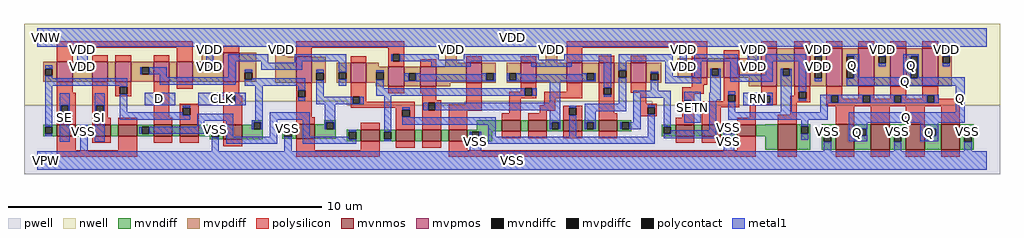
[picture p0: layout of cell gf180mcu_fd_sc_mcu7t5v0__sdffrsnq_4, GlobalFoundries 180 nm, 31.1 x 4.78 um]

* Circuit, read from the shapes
.subckt gf180mcu_fd_sc_mcu7t5v0__sdffrsnq_4 D RN SE SETN SI CLK Q VDD VNW VPW VSS
XM1 VSS SE n1 VPW nfet_06v0 w=0.36u l=0.6u
XM2 n2 SI VSS VPW nfet_06v0 w=0.36u l=0.6u
XM3 n3 SE n2 VPW nfet_06v0 w=0.36u l=0.6u
XM4 n4 D n3 VPW nfet_06v0 w=0.36u l=0.6u
XM5 VSS n1 n4 VPW nfet_06v0 w=0.36u l=0.6u
XM6 n5 CLK VSS VPW nfet_06v0 w=0.465u l=0.6u
XM7 n6 n5 VSS VPW nfet_06v0 w=0.465u l=0.6u
XM8 n7 n5 n3 VPW nfet_06v0 w=0.36u l=0.6u
XM9 n8 n6 n7 VPW nfet_06v0 w=0.36u l=0.6u
XM10 n9 n10 n8 VPW nfet_06v0 w=0.36u l=0.6u
XM11 VSS RN n9 VPW nfet_06v0 w=0.36u l=0.6u
XM12 n11 n7 VSS VPW nfet_06v0 w=0.36u l=0.6u
XM13 n10 SETN n11 VPW nfet_06v0 w=0.36u l=0.6u
XM14 n12 n6 n10 VPW nfet_06v0 w=0.36u l=0.6u
XM15 n13 n5 n12 VPW nfet_06v0 w=0.36u l=0.6u
XM16 n14 SETN n13 VPW nfet_06v0 w=0.36u l=0.6u
XM17 VSS n15 n14 VPW nfet_06v0 w=0.36u l=0.6u
XM18 n16 RN VSS VPW nfet_06v0 w=0.36u l=0.6u
XM19 n15 n12 n16 VPW nfet_06v0 w=0.82u l=0.6u
XM20 Q n15 VSS VPW nfet_06v0 w=0.82u l=0.6u m=4
XM21 VDD SE n1 VNW pfet_06v0 w=0.63u l=0.5u
XM22 n17 SI VDD VNW pfet_06v0 w=0.63u l=0.5u
XM23 n18 n1 n17 VNW pfet_06v0 w=0.63u l=0.5u
XM24 n19 D n18 VNW pfet_06v0 w=0.63u l=0.5u
XM25 VDD SE n19 VNW pfet_06v0 w=0.63u l=0.5u
XM26 n5 CLK VDD VNW pfet_06v0 w=0.925u l=0.5u
XM27 n6 n5 VDD VNW pfet_06v0 w=0.815u l=0.5u
XM28 n7 n6 n18 VNW pfet_06v0 w=0.625u l=0.5u
XM29 n20 n5 n7 VNW pfet_06v0 w=0.625u l=0.5u
XM30 VDD n10 n20 VNW pfet_06v0 w=0.625u l=0.5u
XM31 n20 RN VDD VNW pfet_06v0 w=0.625u l=0.5u
XM32 VDD n7 n10 VNW pfet_06v0 w=0.625u l=0.5u
XM33 n10 SETN VDD VNW pfet_06v0 w=0.63u l=0.5u
XM34 n12 n5 n10 VNW pfet_06v0 w=0.63u l=0.5u
XM35 n13 n6 n12 VNW pfet_06v0 w=0.63u l=0.5u
XM36 n13 SETN VDD VNW pfet_06v0 w=0.63u l=0.5u
XM37 VDD n15 n13 VNW pfet_06v0 w=0.63u l=0.5u
XM38 n15 RN VDD VNW pfet_06v0 w=1.22u l=0.5u
XM39 VDD n12 n15 VNW pfet_06v0 w=1.22u l=0.5u
XM40 Q n15 VDD VNW pfet_06v0 w=1.22u l=0.5u m=4
.ends

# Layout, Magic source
magic
tech gf180mcuD
magscale 1 10
<< nwell >>
rect -86 377 6134 870
rect -86 352 1291 377
rect 1974 352 2726 377
rect 3918 352 6134 377
<< pwell >>
rect 1291 352 1974 377
rect 2726 352 3918 377
rect -86 -86 6134 352
<< mvnmos >>
rect 124 156 244 228
rect 348 156 468 228
rect 516 156 636 228
rect 740 156 860 228
rect 908 156 1028 228
rect 1185 135 1305 228
rect 1648 139 1768 232
rect 2060 124 2180 196
rect 2284 124 2404 196
rect 2452 124 2572 196
rect 2620 124 2740 196
rect 2959 185 3079 257
rect 3127 185 3247 257
rect 3351 185 3471 257
rect 3576 185 3696 257
rect 4066 156 4186 228
rect 4234 156 4354 228
rect 4458 156 4578 228
rect 4718 68 4838 232
rect 5086 68 5206 232
rect 5310 68 5430 232
rect 5534 68 5654 232
rect 5758 68 5878 232
<< mvpmos >>
rect 124 502 224 628
rect 348 502 448 628
rect 496 502 596 628
rect 740 502 840 628
rect 888 502 988 628
rect 1185 502 1285 687
rect 1648 497 1748 660
rect 1996 497 2096 622
rect 2236 474 2336 599
rect 2440 474 2540 599
rect 2732 497 2832 622
rect 3080 497 3180 622
rect 3372 497 3472 623
rect 3576 497 3676 623
rect 3780 497 3880 623
rect 4168 527 4268 653
rect 4372 527 4472 653
rect 4612 472 4712 716
rect 4824 472 4924 716
rect 5028 472 5128 716
rect 5232 472 5332 716
rect 5436 472 5536 716
rect 5640 472 5740 716
<< mvndiff >>
rect 1365 244 1437 257
rect 1365 228 1378 244
rect 36 215 124 228
rect 36 169 49 215
rect 95 169 124 215
rect 36 156 124 169
rect 244 215 348 228
rect 244 169 273 215
rect 319 169 348 215
rect 244 156 348 169
rect 468 156 516 228
rect 636 215 740 228
rect 636 169 665 215
rect 711 169 740 215
rect 636 156 740 169
rect 860 156 908 228
rect 1028 194 1185 228
rect 1028 156 1110 194
rect 1097 148 1110 156
rect 1156 148 1185 194
rect 1097 135 1185 148
rect 1305 198 1378 228
rect 1424 198 1437 244
rect 1828 244 1900 257
rect 1828 232 1841 244
rect 1305 135 1437 198
rect 1560 198 1648 232
rect 1560 152 1573 198
rect 1619 152 1648 198
rect 1560 139 1648 152
rect 1768 198 1841 232
rect 1887 198 1900 244
rect 1768 139 1900 198
rect 2800 196 2959 257
rect 1972 183 2060 196
rect 1972 137 1985 183
rect 2031 137 2060 183
rect 1972 124 2060 137
rect 2180 183 2284 196
rect 2180 137 2209 183
rect 2255 137 2284 183
rect 2180 124 2284 137
rect 2404 124 2452 196
rect 2572 124 2620 196
rect 2740 185 2959 196
rect 3079 185 3127 257
rect 3247 244 3351 257
rect 3247 198 3276 244
rect 3322 198 3351 244
rect 3247 185 3351 198
rect 3471 244 3576 257
rect 3471 198 3500 244
rect 3546 198 3576 244
rect 3471 185 3576 198
rect 3696 244 3784 257
rect 3696 198 3725 244
rect 3771 198 3784 244
rect 4638 228 4718 232
rect 3696 185 3784 198
rect 3978 215 4066 228
rect 2740 183 2899 185
rect 2740 137 2769 183
rect 2815 137 2899 183
rect 3978 169 3991 215
rect 4037 169 4066 215
rect 3978 156 4066 169
rect 4186 156 4234 228
rect 4354 215 4458 228
rect 4354 169 4383 215
rect 4429 169 4458 215
rect 4354 156 4458 169
rect 4578 156 4718 228
rect 2740 124 2899 137
rect 4638 68 4718 156
rect 4838 218 4926 232
rect 4838 172 4867 218
rect 4913 172 4926 218
rect 4838 68 4926 172
rect 4998 166 5086 232
rect 4998 120 5011 166
rect 5057 120 5086 166
rect 4998 68 5086 120
rect 5206 203 5310 232
rect 5206 157 5235 203
rect 5281 157 5310 203
rect 5206 68 5310 157
rect 5430 166 5534 232
rect 5430 120 5459 166
rect 5505 120 5534 166
rect 5430 68 5534 120
rect 5654 203 5758 232
rect 5654 157 5683 203
rect 5729 157 5758 203
rect 5654 68 5758 157
rect 5878 166 5966 232
rect 5878 120 5907 166
rect 5953 120 5966 166
rect 5878 68 5966 120
<< mvpdiff >>
rect 1516 716 1588 729
rect 1048 634 1185 687
rect 1048 628 1075 634
rect 36 585 124 628
rect 36 539 49 585
rect 95 539 124 585
rect 36 502 124 539
rect 224 615 348 628
rect 224 569 263 615
rect 309 569 348 615
rect 224 502 348 569
rect 448 502 496 628
rect 596 595 740 628
rect 596 549 665 595
rect 711 549 740 595
rect 596 502 740 549
rect 840 502 888 628
rect 988 588 1075 628
rect 1121 588 1185 634
rect 988 502 1185 588
rect 1285 561 1393 687
rect 1285 515 1322 561
rect 1368 515 1393 561
rect 1285 502 1393 515
rect 1516 670 1529 716
rect 1575 670 1588 716
rect 1516 660 1588 670
rect 1516 497 1648 660
rect 1748 559 1836 660
rect 2600 735 2672 748
rect 2600 689 2613 735
rect 2659 689 2672 735
rect 1748 513 1777 559
rect 1823 513 1836 559
rect 1748 497 1836 513
rect 1908 563 1996 622
rect 1908 517 1921 563
rect 1967 517 1996 563
rect 1908 497 1996 517
rect 2096 599 2176 622
rect 2600 622 2672 689
rect 3240 735 3312 748
rect 3240 689 3253 735
rect 3299 689 3312 735
rect 3240 623 3312 689
rect 4532 653 4612 716
rect 4080 640 4168 653
rect 3240 622 3372 623
rect 2600 599 2732 622
rect 2096 562 2236 599
rect 2096 516 2160 562
rect 2206 516 2236 562
rect 2096 497 2236 516
rect 2156 474 2236 497
rect 2336 555 2440 599
rect 2336 509 2365 555
rect 2411 509 2440 555
rect 2336 474 2440 509
rect 2540 497 2732 599
rect 2832 556 2920 622
rect 2832 510 2861 556
rect 2907 510 2920 556
rect 2832 497 2920 510
rect 2992 556 3080 622
rect 2992 510 3005 556
rect 3051 510 3080 556
rect 2992 497 3080 510
rect 3180 497 3372 622
rect 3472 556 3576 623
rect 3472 510 3501 556
rect 3547 510 3576 556
rect 3472 497 3576 510
rect 3676 575 3780 623
rect 3676 529 3705 575
rect 3751 529 3780 575
rect 3676 497 3780 529
rect 3880 556 3976 623
rect 3880 510 3909 556
rect 3955 510 3976 556
rect 4080 594 4093 640
rect 4139 594 4168 640
rect 4080 527 4168 594
rect 4268 586 4372 653
rect 4268 540 4297 586
rect 4343 540 4372 586
rect 4268 527 4372 540
rect 4472 640 4612 653
rect 4472 594 4537 640
rect 4583 594 4612 640
rect 4472 527 4612 594
rect 3880 497 3976 510
rect 2540 474 2630 497
rect 4532 472 4612 527
rect 4712 586 4824 716
rect 4712 540 4749 586
rect 4795 540 4824 586
rect 4712 472 4824 540
rect 4924 665 5028 716
rect 4924 525 4953 665
rect 4999 525 5028 665
rect 4924 472 5028 525
rect 5128 665 5232 716
rect 5128 525 5157 665
rect 5203 525 5232 665
rect 5128 472 5232 525
rect 5332 665 5436 716
rect 5332 619 5361 665
rect 5407 619 5436 665
rect 5332 472 5436 619
rect 5536 665 5640 716
rect 5536 525 5565 665
rect 5611 525 5640 665
rect 5536 472 5640 525
rect 5740 665 5828 716
rect 5740 619 5769 665
rect 5815 619 5828 665
rect 5740 472 5828 619
<< mvndiffc >>
rect 49 169 95 215
rect 273 169 319 215
rect 665 169 711 215
rect 1110 148 1156 194
rect 1378 198 1424 244
rect 1573 152 1619 198
rect 1841 198 1887 244
rect 1985 137 2031 183
rect 2209 137 2255 183
rect 3276 198 3322 244
rect 3500 198 3546 244
rect 3725 198 3771 244
rect 2769 137 2815 183
rect 3991 169 4037 215
rect 4383 169 4429 215
rect 4867 172 4913 218
rect 5011 120 5057 166
rect 5235 157 5281 203
rect 5459 120 5505 166
rect 5683 157 5729 203
rect 5907 120 5953 166
<< mvpdiffc >>
rect 49 539 95 585
rect 263 569 309 615
rect 665 549 711 595
rect 1075 588 1121 634
rect 1322 515 1368 561
rect 1529 670 1575 716
rect 2613 689 2659 735
rect 1777 513 1823 559
rect 1921 517 1967 563
rect 3253 689 3299 735
rect 2160 516 2206 562
rect 2365 509 2411 555
rect 2861 510 2907 556
rect 3005 510 3051 556
rect 3501 510 3547 556
rect 3705 529 3751 575
rect 3909 510 3955 556
rect 4093 594 4139 640
rect 4297 540 4343 586
rect 4537 594 4583 640
rect 4749 540 4795 586
rect 4953 525 4999 665
rect 5157 525 5203 665
rect 5361 619 5407 665
rect 5565 525 5611 665
rect 5769 619 5815 665
<< polysilicon >>
rect 124 720 988 760
rect 124 628 224 720
rect 348 628 448 672
rect 496 628 596 672
rect 740 628 840 672
rect 888 628 988 720
rect 1185 687 1285 731
rect 1648 720 2336 760
rect 1648 660 1748 720
rect 2236 678 2336 720
rect 124 432 224 502
rect 124 351 244 432
rect 124 305 151 351
rect 197 305 244 351
rect 124 228 244 305
rect 348 351 448 502
rect 496 469 596 502
rect 496 423 525 469
rect 571 423 596 469
rect 496 410 596 423
rect 348 305 375 351
rect 421 305 448 351
rect 348 272 448 305
rect 740 407 840 502
rect 888 458 988 502
rect 740 361 753 407
rect 799 361 840 407
rect 1185 415 1285 502
rect 1996 622 2096 666
rect 2236 632 2264 678
rect 2310 632 2336 678
rect 2236 599 2336 632
rect 2440 599 2540 644
rect 2732 622 2832 666
rect 3080 622 3180 666
rect 3372 720 4268 760
rect 3372 623 3472 720
rect 3576 623 3676 667
rect 3780 623 3880 667
rect 4168 653 4268 720
rect 4612 716 4712 760
rect 4824 716 4924 760
rect 5028 716 5128 760
rect 5232 716 5332 760
rect 5436 716 5536 760
rect 5640 716 5740 760
rect 4372 653 4472 704
rect 1185 369 1213 415
rect 1259 413 1285 415
rect 1648 448 1748 497
rect 1259 369 1305 413
rect 740 272 840 361
rect 908 335 1028 363
rect 908 289 926 335
rect 972 289 1028 335
rect 348 228 468 272
rect 516 228 636 272
rect 740 228 860 272
rect 908 228 1028 289
rect 1185 228 1305 369
rect 1648 402 1661 448
rect 1707 402 1748 448
rect 1648 277 1748 402
rect 1996 407 2096 497
rect 2236 430 2336 474
rect 2440 430 2540 474
rect 1996 361 2009 407
rect 2055 376 2096 407
rect 2452 384 2540 430
rect 2055 361 2404 376
rect 1996 336 2404 361
rect 2284 324 2404 336
rect 2284 278 2325 324
rect 2371 278 2404 324
rect 124 64 244 156
rect 348 112 468 156
rect 516 64 636 156
rect 740 112 860 156
rect 908 112 1028 156
rect 1648 232 1768 277
rect 2060 196 2180 240
rect 2284 196 2404 278
rect 2452 367 2572 384
rect 2452 321 2490 367
rect 2536 321 2572 367
rect 2732 357 2832 497
rect 3080 459 3180 497
rect 3080 437 3106 459
rect 2452 196 2572 321
rect 2620 317 2832 357
rect 3007 413 3106 437
rect 3152 413 3180 459
rect 3372 437 3472 497
rect 3007 397 3180 413
rect 3228 397 3472 437
rect 3576 464 3676 497
rect 3576 418 3609 464
rect 3655 418 3676 464
rect 3780 431 3880 497
rect 4168 483 4268 527
rect 4168 466 4246 483
rect 2620 196 2740 317
rect 3007 301 3079 397
rect 3228 353 3300 397
rect 3200 317 3300 353
rect 3351 336 3471 349
rect 3200 301 3247 317
rect 2959 257 3079 301
rect 3127 257 3247 301
rect 3351 290 3388 336
rect 3434 290 3471 336
rect 3351 257 3471 290
rect 3576 301 3676 418
rect 3840 361 3880 431
rect 4108 426 4246 466
rect 4108 383 4186 426
rect 3840 340 3948 361
rect 3576 257 3696 301
rect 3840 294 3889 340
rect 3935 294 3948 340
rect 3840 281 3948 294
rect 4108 337 4121 383
rect 4167 337 4186 383
rect 4372 419 4472 527
rect 4372 378 4402 419
rect 4108 272 4186 337
rect 1185 91 1305 135
rect 124 24 636 64
rect 1648 64 1768 139
rect 4066 228 4186 272
rect 4234 373 4402 378
rect 4448 373 4472 419
rect 4612 414 4712 472
rect 4612 412 4625 414
rect 4234 338 4472 373
rect 4538 368 4625 412
rect 4671 368 4712 414
rect 4824 439 4924 472
rect 4824 412 4852 439
rect 4538 355 4712 368
rect 4798 393 4852 412
rect 4898 393 4924 439
rect 4798 372 4924 393
rect 5028 415 5128 472
rect 4234 228 4354 338
rect 4538 272 4578 355
rect 4798 293 4838 372
rect 5028 369 5057 415
rect 5103 394 5128 415
rect 5232 415 5332 472
rect 5232 394 5260 415
rect 5103 369 5260 394
rect 5306 394 5332 415
rect 5436 415 5536 472
rect 5436 394 5459 415
rect 5306 369 5459 394
rect 5505 394 5536 415
rect 5640 415 5740 472
rect 5640 394 5669 415
rect 5505 369 5669 394
rect 5715 394 5740 415
rect 5715 369 5878 394
rect 5028 347 5878 369
rect 4458 228 4578 272
rect 4718 232 4838 293
rect 5086 232 5206 347
rect 5310 232 5430 347
rect 5534 232 5654 347
rect 5758 232 5878 347
rect 2959 141 3079 185
rect 3127 141 3247 185
rect 3351 141 3471 185
rect 3576 141 3696 185
rect 2060 64 2180 124
rect 2284 80 2404 124
rect 2452 80 2572 124
rect 1648 24 2180 64
rect 2620 64 2740 124
rect 4066 112 4186 156
rect 4234 112 4354 156
rect 4458 64 4578 156
rect 2620 24 4578 64
rect 4718 24 4838 68
rect 5086 24 5206 68
rect 5310 24 5430 68
rect 5534 24 5654 68
rect 5758 24 5878 68
<< polycontact >>
rect 151 305 197 351
rect 525 423 571 469
rect 375 305 421 351
rect 753 361 799 407
rect 2264 632 2310 678
rect 1213 369 1259 415
rect 926 289 972 335
rect 1661 402 1707 448
rect 2009 361 2055 407
rect 2325 278 2371 324
rect 2490 321 2536 367
rect 3106 413 3152 459
rect 3609 418 3655 464
rect 3388 290 3434 336
rect 3889 294 3935 340
rect 4121 337 4167 383
rect 4402 373 4448 419
rect 4625 368 4671 414
rect 4852 393 4898 439
rect 5057 369 5103 415
rect 5260 369 5306 415
rect 5459 369 5505 415
rect 5669 369 5715 415
<< metal1 >>
rect 0 735 6048 844
rect 0 724 2613 735
rect 252 615 320 724
rect 49 585 95 608
rect 252 569 263 615
rect 309 569 320 615
rect 1075 634 1121 724
rect 1518 716 1586 724
rect 654 549 665 595
rect 711 549 824 595
rect 1075 577 1121 588
rect 1217 632 1472 678
rect 1518 670 1529 716
rect 1575 670 1586 716
rect 2602 689 2613 724
rect 2659 724 3253 735
rect 2659 689 2670 724
rect 3240 689 3253 724
rect 3299 724 6048 735
rect 3299 689 3312 724
rect 49 523 95 539
rect 778 531 824 549
rect 1217 531 1263 632
rect 1426 624 1472 632
rect 1641 632 1967 678
rect 2253 632 2264 678
rect 2310 643 2556 678
rect 2716 643 3194 678
rect 3358 643 3655 678
rect 2310 632 3655 643
rect 1641 624 1687 632
rect 1426 578 1687 624
rect 49 477 571 523
rect 778 484 1263 531
rect 1322 561 1368 578
rect 1777 559 1823 578
rect 1368 515 1707 524
rect 1322 477 1707 515
rect 49 215 95 477
rect 525 469 571 477
rect 49 156 95 169
rect 141 351 206 430
rect 141 305 151 351
rect 197 305 206 351
rect 141 119 206 305
rect 365 351 430 430
rect 365 305 375 351
rect 421 305 430 351
rect 273 215 319 228
rect 273 60 319 169
rect 365 119 430 305
rect 525 307 571 423
rect 682 407 878 431
rect 682 361 753 407
rect 799 361 878 407
rect 682 353 878 361
rect 1026 415 1326 431
rect 1026 369 1213 415
rect 1259 369 1326 415
rect 1026 353 1326 369
rect 926 335 972 350
rect 525 289 926 307
rect 525 261 972 289
rect 1018 252 1248 298
rect 1389 257 1435 477
rect 1661 448 1707 477
rect 1661 382 1707 402
rect 1777 407 1823 513
rect 1921 563 1967 632
rect 2510 597 2762 632
rect 3148 597 3404 632
rect 1921 477 1967 517
rect 2160 562 2206 574
rect 2160 459 2206 516
rect 2336 509 2365 555
rect 2411 551 2440 555
rect 2832 551 2861 556
rect 2411 510 2861 551
rect 2907 510 2920 556
rect 2411 509 2920 510
rect 2336 505 2920 509
rect 2992 510 3005 556
rect 3051 551 3080 556
rect 3472 551 3501 556
rect 3051 510 3501 551
rect 3547 510 3558 556
rect 2992 505 3558 510
rect 2160 413 3106 459
rect 3152 413 3181 459
rect 1777 361 2009 407
rect 2055 361 2079 407
rect 1777 360 2079 361
rect 1018 215 1064 252
rect 650 169 665 215
rect 711 169 1064 215
rect 1110 194 1156 205
rect 1110 60 1156 148
rect 1202 152 1248 252
rect 1367 244 1435 257
rect 1367 198 1378 244
rect 1424 198 1435 244
rect 1481 259 1736 306
rect 1481 152 1527 259
rect 1202 106 1527 152
rect 1573 198 1619 209
rect 1573 60 1619 152
rect 1690 152 1736 259
rect 1830 244 1898 360
rect 1830 198 1841 244
rect 1887 198 1898 244
rect 1985 183 2031 196
rect 1690 137 1985 152
rect 1690 106 2031 137
rect 2209 183 2255 413
rect 3265 367 3333 505
rect 3609 464 3655 632
rect 3609 407 3655 418
rect 3705 632 4047 678
rect 3705 575 3751 632
rect 2325 324 2371 340
rect 2459 321 2490 367
rect 2536 321 3333 367
rect 3705 361 3751 529
rect 3909 556 3955 567
rect 3909 445 3955 510
rect 4001 537 4047 632
rect 4093 640 4139 724
rect 4093 583 4139 594
rect 4185 632 4463 678
rect 4185 537 4231 632
rect 4001 491 4231 537
rect 4286 540 4297 586
rect 4343 540 4354 586
rect 2325 275 2371 278
rect 2325 229 2920 275
rect 2209 124 2255 137
rect 2756 137 2769 183
rect 2815 137 2828 183
rect 2756 60 2828 137
rect 2874 152 2920 229
rect 3265 244 3333 321
rect 3265 198 3276 244
rect 3322 198 3333 244
rect 3388 336 3434 349
rect 3388 152 3434 290
rect 3489 315 3751 361
rect 3797 399 4037 445
rect 3489 244 3557 315
rect 3797 244 3843 399
rect 3489 198 3500 244
rect 3546 198 3557 244
rect 3714 198 3725 244
rect 3771 198 3843 244
rect 3889 340 3935 353
rect 3889 152 3935 294
rect 2874 106 3935 152
rect 3991 215 4037 399
rect 4121 383 4228 438
rect 4286 431 4354 540
rect 4416 548 4463 632
rect 4526 640 4594 724
rect 4526 594 4537 640
rect 4583 594 4594 640
rect 4640 632 4898 678
rect 4640 548 4686 632
rect 4416 502 4686 548
rect 4738 540 4749 586
rect 4795 540 4806 586
rect 4167 337 4228 383
rect 4121 242 4228 337
rect 4280 385 4354 431
rect 4402 419 4448 440
rect 4280 192 4326 385
rect 4402 307 4448 373
rect 4498 414 4686 431
rect 4498 368 4625 414
rect 4671 368 4686 414
rect 4498 353 4686 368
rect 4738 307 4806 540
rect 4852 439 4898 632
rect 4953 665 4999 724
rect 4953 506 4999 525
rect 5157 665 5236 676
rect 5203 531 5236 665
rect 5361 665 5407 724
rect 5361 600 5407 619
rect 5517 665 5617 676
rect 5517 531 5565 665
rect 5203 525 5565 531
rect 5611 531 5617 665
rect 5769 665 5815 724
rect 5769 600 5815 619
rect 5611 525 5908 531
rect 5157 477 5908 525
rect 4852 382 4898 393
rect 4989 415 5745 419
rect 4989 369 5057 415
rect 5103 369 5260 415
rect 5306 369 5459 415
rect 5505 369 5669 415
rect 5715 369 5745 415
rect 4989 365 5745 369
rect 4989 307 5035 365
rect 5851 307 5908 477
rect 4402 261 5035 307
rect 4867 218 4913 261
rect 4037 169 4326 192
rect 3991 143 4326 169
rect 4372 169 4383 215
rect 4429 169 4440 215
rect 4372 60 4440 169
rect 5170 241 5908 307
rect 5170 203 5287 241
rect 4867 131 4913 172
rect 5011 166 5057 185
rect 5170 157 5235 203
rect 5281 157 5287 203
rect 5627 203 5739 241
rect 5170 122 5287 157
rect 5459 166 5505 185
rect 5011 60 5057 120
rect 5627 157 5683 203
rect 5729 157 5739 203
rect 5627 122 5739 157
rect 5907 166 5953 185
rect 5459 60 5505 120
rect 5907 60 5953 120
rect 0 -60 6048 60
<< labels >>
flabel metal1 s 5517 531 5617 676 0 FreeSans 400 0 0 0 Q
port 7 nsew default output
flabel metal1 s 4498 353 4686 431 0 FreeSans 400 0 0 0 RN
port 2 nsew default input
flabel metal1 s 141 119 206 430 0 FreeSans 400 0 0 0 SE
port 3 nsew default input
flabel metal1 s 4121 242 4228 438 0 FreeSans 400 0 0 0 SETN
port 4 nsew default input
flabel metal1 s 365 119 430 430 0 FreeSans 400 0 0 0 SI
port 5 nsew default input
flabel metal1 s 0 724 6048 844 0 FreeSans 400 0 0 0 VDD
port 8 nsew power bidirectional abutment
flabel metal1 s 273 215 319 228 0 FreeSans 400 0 0 0 VSS
port 11 nsew ground bidirectional abutment
flabel metal1 s 1026 353 1326 431 0 FreeSans 400 0 0 0 CLK
port 6 nsew clock input
flabel metal1 s 682 353 878 431 0 FreeSans 400 0 0 0 D
port 1 nsew default input
flabel nwell s 10 734 110 834 0 FreeSans 400 0 0 0 VNW
port 9 nsew power bidirectional
flabel pwell s 10 -50 110 50 0 FreeSans 400 0 0 0 VPW
port 10 nsew ground bidirectional
rlabel metal1 s 5157 531 5236 676 1 Q
port 7 nsew default output
rlabel metal1 s 5157 477 5908 531 1 Q
port 7 nsew default output
rlabel metal1 s 5851 307 5908 477 1 Q
port 7 nsew default output
rlabel metal1 s 5170 241 5908 307 1 Q
port 7 nsew default output
rlabel metal1 s 5627 122 5739 241 1 Q
port 7 nsew default output
rlabel metal1 s 5170 122 5287 241 1 Q
port 7 nsew default output
rlabel metal1 s 5769 689 5815 724 1 VDD
port 8 nsew power bidirectional abutment
rlabel metal1 s 5361 689 5407 724 1 VDD
port 8 nsew power bidirectional abutment
rlabel metal1 s 4953 689 4999 724 1 VDD
port 8 nsew power bidirectional abutment
rlabel metal1 s 4526 689 4594 724 1 VDD
port 8 nsew power bidirectional abutment
rlabel metal1 s 4093 689 4139 724 1 VDD
port 8 nsew power bidirectional abutment
rlabel metal1 s 3240 689 3312 724 1 VDD
port 8 nsew power bidirectional abutment
rlabel metal1 s 2602 689 2670 724 1 VDD
port 8 nsew power bidirectional abutment
rlabel metal1 s 1518 689 1586 724 1 VDD
port 8 nsew power bidirectional abutment
rlabel metal1 s 1075 689 1121 724 1 VDD
port 8 nsew power bidirectional abutment
rlabel metal1 s 252 689 320 724 1 VDD
port 8 nsew power bidirectional abutment
rlabel metal1 s 5769 670 5815 689 1 VDD
port 8 nsew power bidirectional abutment
rlabel metal1 s 5361 670 5407 689 1 VDD
port 8 nsew power bidirectional abutment
rlabel metal1 s 4953 670 4999 689 1 VDD
port 8 nsew power bidirectional abutment
rlabel metal1 s 4526 670 4594 689 1 VDD
port 8 nsew power bidirectional abutment
rlabel metal1 s 4093 670 4139 689 1 VDD
port 8 nsew power bidirectional abutment
rlabel metal1 s 1518 670 1586 689 1 VDD
port 8 nsew power bidirectional abutment
rlabel metal1 s 1075 670 1121 689 1 VDD
port 8 nsew power bidirectional abutment
rlabel metal1 s 252 670 320 689 1 VDD
port 8 nsew power bidirectional abutment
rlabel metal1 s 5769 600 5815 670 1 VDD
port 8 nsew power bidirectional abutment
rlabel metal1 s 5361 600 5407 670 1 VDD
port 8 nsew power bidirectional abutment
rlabel metal1 s 4953 600 4999 670 1 VDD
port 8 nsew power bidirectional abutment
rlabel metal1 s 4526 600 4594 670 1 VDD
port 8 nsew power bidirectional abutment
rlabel metal1 s 4093 600 4139 670 1 VDD
port 8 nsew power bidirectional abutment
rlabel metal1 s 1075 600 1121 670 1 VDD
port 8 nsew power bidirectional abutment
rlabel metal1 s 252 600 320 670 1 VDD
port 8 nsew power bidirectional abutment
rlabel metal1 s 4953 594 4999 600 1 VDD
port 8 nsew power bidirectional abutment
rlabel metal1 s 4526 594 4594 600 1 VDD
port 8 nsew power bidirectional abutment
rlabel metal1 s 4093 594 4139 600 1 VDD
port 8 nsew power bidirectional abutment
rlabel metal1 s 1075 594 1121 600 1 VDD
port 8 nsew power bidirectional abutment
rlabel metal1 s 252 594 320 600 1 VDD
port 8 nsew power bidirectional abutment
rlabel metal1 s 4953 583 4999 594 1 VDD
port 8 nsew power bidirectional abutment
rlabel metal1 s 4093 583 4139 594 1 VDD
port 8 nsew power bidirectional abutment
rlabel metal1 s 1075 583 1121 594 1 VDD
port 8 nsew power bidirectional abutment
rlabel metal1 s 252 583 320 594 1 VDD
port 8 nsew power bidirectional abutment
rlabel metal1 s 4953 577 4999 583 1 VDD
port 8 nsew power bidirectional abutment
rlabel metal1 s 1075 577 1121 583 1 VDD
port 8 nsew power bidirectional abutment
rlabel metal1 s 252 577 320 583 1 VDD
port 8 nsew power bidirectional abutment
rlabel metal1 s 4953 569 4999 577 1 VDD
port 8 nsew power bidirectional abutment
rlabel metal1 s 252 569 320 577 1 VDD
port 8 nsew power bidirectional abutment
rlabel metal1 s 4953 506 4999 569 1 VDD
port 8 nsew power bidirectional abutment
rlabel metal1 s 4372 209 4440 215 1 VSS
port 11 nsew ground bidirectional abutment
rlabel metal1 s 273 209 319 215 1 VSS
port 11 nsew ground bidirectional abutment
rlabel metal1 s 4372 205 4440 209 1 VSS
port 11 nsew ground bidirectional abutment
rlabel metal1 s 1573 205 1619 209 1 VSS
port 11 nsew ground bidirectional abutment
rlabel metal1 s 273 205 319 209 1 VSS
port 11 nsew ground bidirectional abutment
rlabel metal1 s 4372 185 4440 205 1 VSS
port 11 nsew ground bidirectional abutment
rlabel metal1 s 1573 185 1619 205 1 VSS
port 11 nsew ground bidirectional abutment
rlabel metal1 s 1110 185 1156 205 1 VSS
port 11 nsew ground bidirectional abutment
rlabel metal1 s 273 185 319 205 1 VSS
port 11 nsew ground bidirectional abutment
rlabel metal1 s 5907 183 5953 185 1 VSS
port 11 nsew ground bidirectional abutment
rlabel metal1 s 5459 183 5505 185 1 VSS
port 11 nsew ground bidirectional abutment
rlabel metal1 s 5011 183 5057 185 1 VSS
port 11 nsew ground bidirectional abutment
rlabel metal1 s 4372 183 4440 185 1 VSS
port 11 nsew ground bidirectional abutment
rlabel metal1 s 1573 183 1619 185 1 VSS
port 11 nsew ground bidirectional abutment
rlabel metal1 s 1110 183 1156 185 1 VSS
port 11 nsew ground bidirectional abutment
rlabel metal1 s 273 183 319 185 1 VSS
port 11 nsew ground bidirectional abutment
rlabel metal1 s 5907 60 5953 183 1 VSS
port 11 nsew ground bidirectional abutment
rlabel metal1 s 5459 60 5505 183 1 VSS
port 11 nsew ground bidirectional abutment
rlabel metal1 s 5011 60 5057 183 1 VSS
port 11 nsew ground bidirectional abutment
rlabel metal1 s 4372 60 4440 183 1 VSS
port 11 nsew ground bidirectional abutment
rlabel metal1 s 2756 60 2828 183 1 VSS
port 11 nsew ground bidirectional abutment
rlabel metal1 s 1573 60 1619 183 1 VSS
port 11 nsew ground bidirectional abutment
rlabel metal1 s 1110 60 1156 183 1 VSS
port 11 nsew ground bidirectional abutment
rlabel metal1 s 273 60 319 183 1 VSS
port 11 nsew ground bidirectional abutment
rlabel metal1 s 0 -60 6048 60 1 VSS
port 11 nsew ground bidirectional abutment
<< properties >>
string FIXED_BBOX 0 0 6048 784
string GDS_END 281384
string GDS_FILE $PDKPATH/libs.ref/gf180mcu_fd_sc_mcu7t5v0/gds/gf180mcu_fd_sc_mcu7t5v0.gds
string GDS_START 268474
string LEFclass core
string LEFsite GF018hv5v_mcu_sc7
string LEFsymmetry X Y
<< end >>
